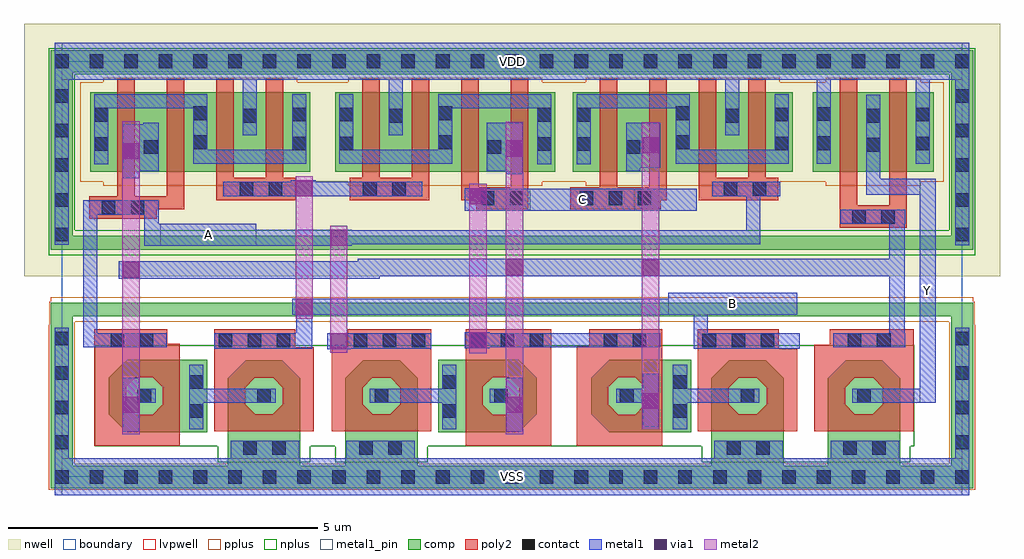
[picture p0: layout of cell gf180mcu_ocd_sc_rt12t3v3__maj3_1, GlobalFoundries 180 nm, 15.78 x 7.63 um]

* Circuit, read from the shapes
.subckt gf180mcu_ocd_sc_rt12t3v3__maj3_1 A B C VDD VSS Y
XM1 n1 A n2 VSS nfet_03v3 w=1.785u l=0.5348u
XM2 n2 B VSS VSS nfet_03v3 w=1.785u l=0.5344u
XM3 n3 A VSS VSS nfet_03v3 w=1.785u l=0.5382u
XM4 n1 C n3 VSS nfet_03v3 w=1.785u l=0.5369u
XM5 n1 C n4 VSS nfet_03v3 w=1.785u l=0.5299u
XM6 n4 B VSS VSS nfet_03v3 w=1.785u l=0.5358u
XM7 Y n1 VSS VSS nfet_03v3 w=1.785u l=0.534u
XM8 n1 A n5 VDD pfet_03v3 w=1.285u l=0.28u m=2
XM9 VDD B n5 VDD pfet_03v3 w=1.285u l=0.28u m=2
XM10 VDD B n6 VDD pfet_03v3 w=1.285u l=0.28u m=2
XM11 n1 C n6 VDD pfet_03v3 w=1.285u l=0.28u m=2
XM12 n1 C n7 VDD pfet_03v3 w=1.285u l=0.28u m=2
XM13 VDD A n7 VDD pfet_03v3 w=1.285u l=0.28u m=2
XM14 Y n1 VDD VDD pfet_03v3 w=1.285u l=0.28u m=2
.ends

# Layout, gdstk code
import gdstk
lib = gdstk.Library(unit=1e-6, precision=1e-09)
def R(c, l, rs):  # rectangles x0, y0, x1, y1
    for r in rs: c.add(gdstk.rectangle(r[:2], r[2:], *l))
def A(c, l, x, y, w, h, nx, ny, dx, dy):  # array of equal rectangles
    R(c, l, [(x+i*dx, y+j*dy, x+i*dx+w, y+j*dy+h) for i in range(nx) for j in range(ny)])
def P(c, l, *ps):  # polygons
    for p in ps: c.add(gdstk.Polygon(p, *l))
boundary = (0, 0)
nwell = (21, 0)
comp = (22, 0)
poly2 = (30, 0)
pplus = (31, 0)
nplus = (32, 0)
contact = (33, 0)
metal1 = (34, 0)
metal1_pin = (34, 10)
via1 = (35, 0)
metal2 = (36, 0)
lvpwell = (204, 0)

gf180mcu_ocd_sc_rt12t3v3 = lib.new_cell('gf180mcu_ocd_sc_rt12t3v3__maj3_1')
R(gf180mcu_ocd_sc_rt12t3v3, boundary, [(0,0,14.56,6.72)])
R(gf180mcu_ocd_sc_rt12t3v3, nwell, [(-0.61,3.245,15.17,7.33)])
R(gf180mcu_ocd_sc_rt12t3v3, comp, [(-0.18,-0.18,14.74,0.18), (-0.18,0.18,0.18,2.595), (2.685,0.18,3.855,1.595), (4.585,0.18,5.755,1.595), (10.505,0.18,11.675,1.595), (12.385,0.18,13.555,1.595), (14.38,0.18,14.74,2.595), (1.05,0.725,2.355,1.015), (6.085,0.725,7.39,1.015), (8.85,0.725,10.175,1.015), (0.76,1.015,2.355,1.605), (6.085,1.015,7.68,1.605), (8.56,1.015,10.175,1.605), (2.975,1.595,3.565,1.885), (4.875,1.595,5.465,1.885), (10.795,1.595,11.665,1.605), (12.395,1.595,13.265,1.605), (1.05,1.605,2.355,1.895), (6.085,1.605,7.39,1.895), (8.85,1.605,10.175,1.895), (10.795,1.605,11.385,1.885), (12.675,1.605,13.265,1.885), (-0.18,2.595,14.74,2.815), (-0.18,3.675,14.74,3.895), (-0.18,3.895,0.18,6.54), (14.38,3.895,14.74,6.54), (0.46,4.935,4.02,6.22), (4.42,4.935,7.98,6.22), (8.26,4.935,11.82,6.22), (12.14,4.935,14.1,6.22), (-0.18,6.54,14.74,6.9)])
P(gf180mcu_ocd_sc_rt12t3v3, comp, [(0.76,1.605),(1.05,1.605),(1.05,1.895)],
  [(0.76,1.015),(1.05,1.015),(1.05,0.725)],
  [(2.685,1.595),(2.975,1.595),(2.975,1.885)],
  [(3.565,1.885),(3.565,1.595),(3.855,1.595)],
  [(4.585,1.595),(4.875,1.595),(4.875,1.885)],
  [(5.465,1.885),(5.465,1.595),(5.755,1.595)],
  [(7.39,1.895),(7.39,1.605),(7.68,1.605)],
  [(7.39,0.725),(7.39,1.015),(7.68,1.015)],
  [(8.56,1.605),(8.85,1.605),(8.85,1.895)],
  [(8.56,1.015),(8.85,1.015),(8.85,0.725)],
  [(10.505,1.595),(10.795,1.595),(10.795,1.885)],
  [(11.385,1.885),(11.385,1.605),(11.665,1.605)],
  [(12.395,1.605),(12.675,1.605),(12.675,1.885)],
  [(11.665,1.605),(11.665,1.595),(11.675,1.595)],
  [(12.385,1.595),(12.395,1.595),(12.395,1.605)],
  [(13.265,1.885),(13.265,1.595),(13.555,1.595)])
R(gf180mcu_ocd_sc_rt12t3v3, poly2, [(0.525,0.505,1.91,1.005), (6.53,0.505,7.915,1.005), (8.325,0.505,9.71,1.005), (2.465,0.735,4.075,1.015), (4.365,0.735,5.975,1.015), (10.285,0.735,11.895,1.015), (12.165,0.735,13.775,1.015), (0.525,1.005,1.05,1.155), (1.62,1.005,1.91,1.155), (6.53,1.005,6.81,1.615), (7.39,1.005,7.915,1.155), (8.325,1.005,8.85,1.155), (9.42,1.005,9.71,1.155), (2.465,1.015,2.965,1.595), (3.575,1.015,4.075,1.595), (4.365,1.015,4.865,1.595), (5.475,1.015,5.975,1.595), (10.285,1.015,10.785,1.595), (11.395,1.015,11.895,1.595), (12.165,1.015,12.665,1.595), (13.275,1.015,13.775,1.595), (0.525,1.155,1.04,1.465), (1.63,1.155,1.91,1.465), (7.4,1.155,7.915,1.465), (8.325,1.155,8.84,1.465), (9.43,1.155,9.71,1.465), (0.525,1.465,1.05,1.615), (1.62,1.465,1.91,1.615), (7.39,1.465,7.915,1.615), (8.325,1.465,8.85,1.615), (9.42,1.465,9.71,1.615), (2.465,1.595,3.115,1.605), (3.425,1.595,4.075,1.605), (4.365,1.595,5.015,1.605), (5.325,1.595,5.975,1.605), (10.285,1.595,10.935,1.605), (11.245,1.595,11.895,1.605), (12.165,1.595,12.815,1.605), (13.125,1.595,13.775,1.605), (2.465,1.605,4.075,2.095), (4.365,1.605,5.975,2.095), (10.285,1.605,11.895,2.075), (12.165,1.605,13.775,2.14), (0.525,1.615,1.91,2.15), (6.53,1.615,7.915,2.39), (8.325,1.615,9.71,2.115), (10.285,2.075,11.595,2.385), (2.465,2.095,3.775,2.385), (4.625,2.095,5.975,2.385), (8.525,2.115,9.71,2.39), (12.415,2.14,13.775,2.39), (0.525,2.15,1.71,2.39), (12.58,4.025,13.66,4.39), (0.445,4.175,1.535,4.325), (0.445,4.325,1.98,4.535), (6.7,4.325,7.54,4.475), (8.225,4.325,9.685,4.475), (12.58,4.39,12.86,6.44), (13.38,4.39,13.66,6.44), (2.5,4.475,3.785,4.835), (4.655,4.475,5.94,4.835), (6.46,4.475,7.54,4.685), (8.225,4.475,9.78,4.685), (10.3,4.475,11.585,4.835), (0.9,4.535,1.18,6.44), (1.7,4.535,1.98,6.44), (6.46,4.685,6.74,6.44), (7.26,4.685,7.54,6.44), (8.7,4.685,8.98,6.44), (9.5,4.685,9.78,6.44), (2.5,4.835,2.78,6.44), (3.3,4.835,3.58,6.44), (4.86,4.835,5.14,6.44), (5.66,4.835,5.94,6.44), (10.3,4.835,10.58,6.44), (11.1,4.835,11.38,6.44)])
P(gf180mcu_ocd_sc_rt12t3v3, poly2, [(1.05,1.465),(1.05,1.615),(1.2,1.615)],
  [(1.47,1.615),(1.62,1.615),(1.62,1.465)],
  [(1.04,1.455),(1.04,1.465),(1.05,1.465)],
  [(1.62,1.465),(1.63,1.465),(1.63,1.455)],
  [(1.04,1.165),(1.04,1.155),(1.05,1.155)],
  [(1.62,1.155),(1.63,1.155),(1.63,1.165)],
  [(1.05,1.155),(1.05,1.005),(1.2,1.005)],
  [(1.47,1.005),(1.62,1.005),(1.62,1.155)],
  [(3.115,1.595),(3.115,1.605),(3.125,1.605)],
  [(3.415,1.605),(3.425,1.605),(3.425,1.595)],
  [(2.965,1.445),(2.965,1.595),(3.115,1.595)],
  [(3.425,1.595),(3.575,1.595),(3.575,1.445)],
  [(2.965,1.175),(2.965,1.015),(3.125,1.015)],
  [(3.415,1.015),(3.575,1.015),(3.575,1.175)],
  [(5.015,1.595),(5.015,1.605),(5.025,1.605)],
  [(5.315,1.605),(5.325,1.605),(5.325,1.595)],
  [(4.865,1.445),(4.865,1.595),(5.015,1.595)],
  [(5.325,1.595),(5.475,1.595),(5.475,1.445)],
  [(4.865,1.175),(4.865,1.015),(5.025,1.015)],
  [(5.315,1.015),(5.475,1.015),(5.475,1.175)],
  [(6.81,1.455),(6.81,1.615),(6.97,1.615)],
  [(7.24,1.615),(7.39,1.615),(7.39,1.465)],
  [(7.39,1.465),(7.4,1.465),(7.4,1.455)],
  [(6.81,1.165),(6.81,1.005),(6.97,1.005)],
  [(7.39,1.155),(7.4,1.155),(7.4,1.165)],
  [(7.24,1.005),(7.39,1.005),(7.39,1.155)],
  [(8.85,1.465),(8.85,1.615),(9,1.615)],
  [(9.27,1.615),(9.42,1.615),(9.42,1.465)],
  [(8.84,1.455),(8.84,1.465),(8.85,1.465)],
  [(9.42,1.465),(9.43,1.465),(9.43,1.455)],
  [(8.84,1.165),(8.84,1.155),(8.85,1.155)],
  [(9.42,1.155),(9.43,1.155),(9.43,1.165)],
  [(8.85,1.155),(8.85,1.005),(9,1.005)],
  [(9.27,1.005),(9.42,1.005),(9.42,1.155)],
  [(10.935,1.595),(10.935,1.605),(10.945,1.605)],
  [(11.235,1.605),(11.245,1.605),(11.245,1.595)],
  [(10.785,1.445),(10.785,1.595),(10.935,1.595)],
  [(11.245,1.595),(11.395,1.595),(11.395,1.445)],
  [(10.785,1.175),(10.785,1.015),(10.945,1.015)],
  [(11.235,1.015),(11.395,1.015),(11.395,1.175)],
  [(12.815,1.595),(12.815,1.605),(12.825,1.605)],
  [(13.115,1.605),(13.125,1.605),(13.125,1.595)],
  [(12.665,1.445),(12.665,1.595),(12.815,1.595)],
  [(13.125,1.595),(13.275,1.595),(13.275,1.445)],
  [(12.665,1.175),(12.665,1.015),(12.825,1.015)],
  [(13.115,1.015),(13.275,1.015),(13.275,1.175)])
R(gf180mcu_ocd_sc_rt12t3v3, pplus, [(-0.21,-0.21,14.77,0.21), (-0.21,0.21,0.21,2.45), (2.665,0.21,3.875,0.235), (4.565,0.21,5.775,0.235), (10.485,0.21,11.695,0.235), (12.365,0.21,13.575,0.235), (14.35,0.21,14.77,2.45), (-0.2,2.45,0.21,2.505), (14.35,2.45,14.76,2.505), (-0.2,2.505,14.76,2.835), (-0.18,2.835,14.74,2.905), (0.67,4.705,3.81,4.775), (4.63,4.705,7.77,4.775), (8.47,4.705,11.61,4.775), (12.35,4.705,13.89,4.775), (0.3,4.775,14.26,6.38), (0.67,6.38,3.81,6.45), (4.63,6.38,7.77,6.45), (8.47,6.38,11.61,6.45), (12.35,6.38,13.89,6.45)])
R(gf180mcu_ocd_sc_rt12t3v3, nplus, [(2.525,0.235,4.015,0.495), (4.425,0.235,5.915,0.495), (10.345,0.235,13.715,0.495), (0.53,0.495,13.785,2.125), (-0.21,3.585,14.77,3.985), (-0.21,3.985,0.21,6.51), (14.35,3.985,14.77,6.51), (-0.21,6.51,14.77,6.93)])
A(gf180mcu_ocd_sc_rt12t3v3, contact, -0.11, -0.11, 0.22, 0.22, 27, 2, 0.56, 6.72)
A(gf180mcu_ocd_sc_rt12t3v3, contact, -0.11, 0.45, 0.22, 0.22, 1, 4, 0, 0.56)
A(gf180mcu_ocd_sc_rt12t3v3, contact, 14.45, 0.45, 0.22, 0.22, 1, 4, 0, 0.56)
A(gf180mcu_ocd_sc_rt12t3v3, contact, 2.535, 2.095, 0.22, 0.22, 3, 1, 0.47, 0)
A(gf180mcu_ocd_sc_rt12t3v3, contact, 4.72, 2.095, 0.22, 0.22, 3, 1, 0.47, 0)
A(gf180mcu_ocd_sc_rt12t3v3, contact, 10.36, 2.095, 0.22, 0.22, 3, 1, 0.47, 0)
A(gf180mcu_ocd_sc_rt12t3v3, contact, 6.625, 2.1, 0.22, 0.22, 3, 1, 0.47, 0)
A(gf180mcu_ocd_sc_rt12t3v3, contact, -0.11, 3.81, 0.22, 0.22, 1, 5, 0, 0.56)
A(gf180mcu_ocd_sc_rt12t3v3, contact, 14.45, 3.81, 0.22, 0.22, 1, 5, 0, 0.56)
A(gf180mcu_ocd_sc_rt12t3v3, contact, 8.375, 4.395, 0.22, 0.22, 3, 1, 0.47, 0)
R(gf180mcu_ocd_sc_rt12t3v3, contact, [(2.935,0.36,3.155,0.58), (3.405,0.36,3.625,0.58), (4.81,0.36,5.03,0.58), (5.28,0.36,5.5,0.58), (10.755,0.36,10.975,0.58), (11.225,0.36,11.445,0.58), (12.635,0.36,12.855,0.58), (13.105,0.36,13.325,0.58), (2.065,0.955,2.285,1.175), (6.155,0.955,6.375,1.175), (9.885,0.955,10.105,1.175), (1.225,1.2,1.445,1.42), (3.16,1.2,3.38,1.42), (5.06,1.2,5.28,1.42), (6.995,1.2,7.215,1.42), (9.025,1.2,9.245,1.42), (10.98,1.2,11.2,1.42), (12.86,1.2,13.08,1.42), (2.065,1.425,2.285,1.645), (6.155,1.425,6.375,1.645), (9.885,1.425,10.105,1.645), (0.79,2.1,1.01,2.32), (1.26,2.1,1.48,2.32), (8.76,2.1,8.98,2.32), (9.23,2.1,9.45,2.32), (12.71,2.1,12.93,2.32), (13.18,2.1,13.4,2.32), (12.78,4.095,13,4.315), (13.25,4.095,13.47,4.315), (0.645,4.245,0.865,4.465), (1.115,4.245,1.335,4.465), (6.775,4.395,6.995,4.615), (7.245,4.395,7.465,4.615), (2.875,4.545,3.095,4.765), (3.345,4.545,3.565,4.765), (4.87,4.545,5.09,4.765), (5.34,4.545,5.56,4.765), (10.7,4.545,10.92,4.765), (11.17,4.545,11.39,4.765), (1.33,5.225,1.55,5.445), (6.89,5.225,7.11,5.445), (9.13,5.225,9.35,5.445), (13.01,5.26,13.23,5.48), (0.53,5.275,0.75,5.495), (7.69,5.275,7.91,5.495), (8.33,5.275,8.55,5.495), (3.73,5.28,3.95,5.5), (4.49,5.28,4.71,5.5), (11.53,5.28,11.75,5.5), (13.81,5.28,14.03,5.5), (12.21,5.285,12.43,5.505), (2.13,5.3,2.35,5.52), (6.09,5.3,6.31,5.52), (9.93,5.3,10.15,5.52), (2.93,5.73,3.15,5.95), (5.29,5.73,5.51,5.95), (10.73,5.73,10.95,5.95), (13.01,5.73,13.23,5.95), (0.53,5.745,0.75,5.965), (7.69,5.745,7.91,5.965), (8.33,5.745,8.55,5.965), (3.73,5.75,3.95,5.97), (4.49,5.75,4.71,5.97), (11.53,5.75,11.75,5.97), (13.81,5.75,14.03,5.97), (12.21,5.755,12.43,5.975), (2.13,5.77,2.35,5.99), (6.09,5.77,6.31,5.99), (9.93,5.77,10.15,5.99)])
R(gf180mcu_ocd_sc_rt12t3v3, metal1, [(-0.115,-0.3,14.675,0.3), (-0.115,0.3,0.115,2.41), (2.73,0.3,3.84,0.585), (4.6,0.3,5.71,0.585), (10.55,0.3,11.66,0.585), (12.43,0.3,13.54,0.585), (14.445,0.3,14.675,2.41), (0.99,0.73,1.25,1.195), (7.19,0.73,7.45,1.195), (2.06,0.77,2.29,1.195), (6.15,0.77,6.38,1.195), (9.88,0.77,10.11,1.195), (9.39,0.8,9.65,1.195), (0.99,1.195,1.52,1.425), (2.06,1.195,3.46,1.425), (4.98,1.195,6.38,1.425), (6.92,1.195,7.45,1.425), (8.965,1.195,9.65,1.425), (9.88,1.195,11.28,1.425), (12.78,1.195,14.13,1.425), (0.99,1.425,1.25,1.6), (2.06,1.425,2.29,1.815), (6.15,1.425,6.38,1.815), (7.19,1.425,7.45,1.6), (9.39,1.425,9.65,1.665), (9.88,1.425,10.11,1.815), (13.87,1.425,14.13,4.56), (4.29,2.065,4.67,2.075), (10.215,2.07,10.445,2.075), (2.465,2.075,4.05,2.32), (4.29,2.075,5.975,2.32), (10.215,2.075,11.935,2.32), (6.52,2.08,6.92,2.095), (0.345,2.095,1.7,2.325), (6.52,2.095,9.675,2.325), (12.47,2.095,13.64,2.325), (3.79,2.32,4.05,2.62), (4.29,2.32,4.67,2.325), (10.215,2.32,10.445,2.62), (0.345,2.325,0.575,4.24), (6.52,2.325,6.92,2.34), (13.38,2.325,13.63,3.245), (3.73,2.62,11.895,2.88), (9.81,2.88,11.895,2.98), (0.92,3.205,5.145,3.245), (0.92,3.245,13.63,3.49), (4.785,3.49,13.63,3.525), (7.03,3.525,7.49,3.53), (13.38,3.525,13.63,4.09), (1.335,3.735,3.145,3.74), (1.335,3.74,4.69,3.76), (14.445,3.745,14.675,6.42), (-0.115,3.75,0.115,6.42), (1.335,3.76,11.295,3.99), (1.335,3.99,4.69,4), (11.065,3.99,11.295,4.54), (1.335,4,3.145,4.095), (12.59,4.09,13.64,4.32), (1.335,4.095,1.565,4.24), (0.345,4.24,1.565,4.47), (6.52,4.3,10.265,4.66), (2.61,4.54,5.83,4.77), (10.515,4.54,11.615,4.77), (13.005,4.56,14.13,4.82), (6.52,4.66,6.92,4.67), (3.705,4.77,4.11,4.8), (13.005,4.82,13.235,6.18), (0.99,4.83,1.25,4.945), (7.19,4.89,7.45,4.945), (0.99,4.945,1.57,5.7), (6.87,4.945,7.45,5.73), (9.125,4.945,9.355,5), (9.125,5,9.68,5.725), (0.525,5.055,0.755,5.96), (7.685,5.055,7.915,5.96), (8.325,5.055,8.555,5.96), (2.125,5.06,3.955,5.29), (4.485,5.06,6.315,5.29), (9.925,5.06,11.755,5.29), (13.805,5.06,14.035,6.42), (12.205,5.065,12.435,6.42), (2.125,5.29,2.355,5.96), (3.725,5.29,3.955,6.19), (4.485,5.29,4.715,6.19), (6.085,5.29,6.315,5.96), (9.925,5.29,10.155,5.96), (11.525,5.29,11.755,6.19), (2.925,5.52,3.155,6.42), (5.285,5.52,5.515,6.42), (10.725,5.52,10.955,6.42), (1.315,5.7,1.57,5.73), (9.125,5.725,9.355,5.73), (0.525,5.96,2.355,6.19), (6.085,5.96,7.915,6.19), (8.325,5.96,10.155,6.19), (-0.115,6.42,14.675,7.02)])
R(gf180mcu_ocd_sc_rt12t3v3, metal1_pin, [(0,-0.3,14.56,0.3), (13.87,1.195,14.13,4.82), (9.81,2.62,11.895,2.98), (1.595,3.735,3.145,4.095), (7.565,4.3,9.265,4.66), (0,6.42,14.56,7.02)])
R(gf180mcu_ocd_sc_rt12t3v3, via1, [(0.99,1.035,1.25,1.295), (7.19,1.035,7.45,1.295), (9.39,1.1,9.65,1.36), (4.35,2.065,4.61,2.325), (6.6,2.08,6.86,2.34), (3.79,2.62,4.05,2.88), (0.99,3.22,1.25,3.48), (9.39,3.255,9.65,3.515), (7.19,3.26,7.45,3.52), (4.35,3.74,4.61,4), (6.6,4.41,6.86,4.67), (3.79,4.54,4.05,4.8), (0.99,5.135,1.25,5.395), (7.19,5.18,7.45,5.44), (9.39,5.23,9.65,5.49)])
R(gf180mcu_ocd_sc_rt12t3v3, metal2, [(0.98,0.69,1.26,5.75), (7.18,0.69,7.46,5.745), (9.38,0.77,9.66,5.735), (6.59,2,6.87,4.74), (4.34,2.005,4.62,4.06), (3.78,2.555,4.06,4.86)])
R(gf180mcu_ocd_sc_rt12t3v3, lvpwell, [(-0.18,-0.18,14.74,2.815)])
gf180mcu_ocd_sc_rt12t3v3.add(gdstk.Label('A', (2.37,3.915), layer=34, texttype=10))
gf180mcu_ocd_sc_rt12t3v3.add(gdstk.Label('B', (10.852,2.8), layer=34, texttype=10))
gf180mcu_ocd_sc_rt12t3v3.add(gdstk.Label('C', (8.415,4.48), layer=34, texttype=10))
gf180mcu_ocd_sc_rt12t3v3.add(gdstk.Label('Y', (14,3.007), layer=34, texttype=10))
gf180mcu_ocd_sc_rt12t3v3.add(gdstk.Label('VDD', (7.28,6.72), layer=34, texttype=10))
gf180mcu_ocd_sc_rt12t3v3.add(gdstk.Label('VSS', (7.28,0), layer=34, texttype=10))

lib.write_gds('gf180mcu_ocd_sc_rt12t3v3__maj3_1.gds')
